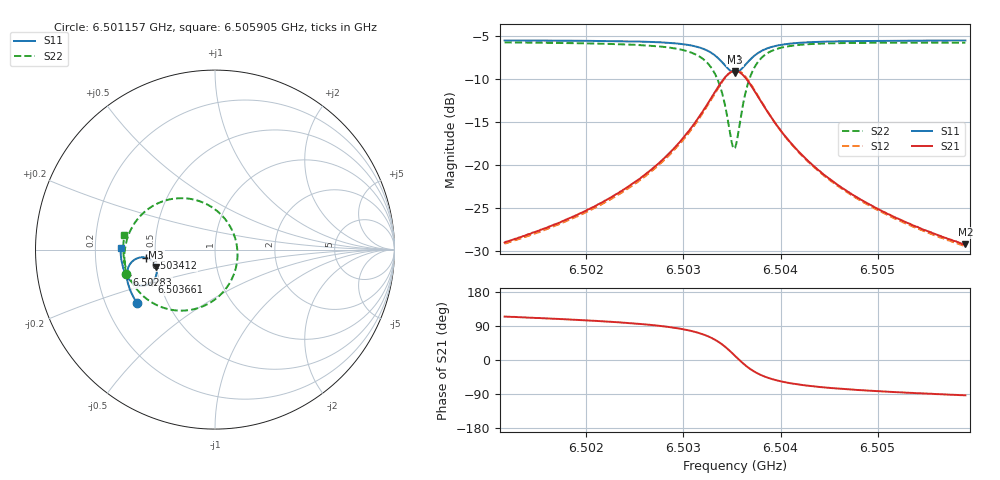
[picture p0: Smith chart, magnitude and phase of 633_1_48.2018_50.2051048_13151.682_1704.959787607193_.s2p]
#  HZ  S  RI  R  50.00
! Rohde & Schwarz Vector Network Analyzer
! Rohde-Schwarz,ZNB20-2Port,1311601062101988,3.16
! Created: UTC 3/20/2024, 12:04:23 PM
! freq[Hz]  re:S11  im:S11  re:S21  im:S21  re:S12  im:S12  re:S22  im:S22
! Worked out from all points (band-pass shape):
!   401 points, 6.501157 GHz to 6.505905 GHz, reference 50 ohm
!   highest |S21| = -9.11 dB at 6.503531 GHz (marker M1); lowest = -29.3 dB at 6.505905 GHz (marker M2)
!   |S21| within 3 dB of the highest: 6.503294 GHz to 6.503769 GHz (475.4 kHz wide, 0.00731 % of centre)
!   lowest |S11| = -9.3 dB at 6.503531 GHz (marker M3), VSWR 2.04, Z = 24.9 - j5.6 ohm
!   |S11| at or under -10 dB: nowhere
!   |S22| runs from -18.1 to -5.8 dB; largest |S21 - S12| = 0.013
!   S11 on the Smith chart (normalised r, x): 6.501157 GHz: 0.34, -0.28; 6.50283 GHz: 0.33, -0.13; 6.503412 GHz: 0.44, -0.05; 6.503661 GHz: 0.46, -0.19; 6.505905 GHz: 0.31, +0.01
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6.5011567e9  -0.436 -0.2956  -0.0147 0.0321  -0.0129 0.0324  -0.4948 -0.1371
6.501952e9  -0.4687 -0.235  -0.0138 0.0509  -0.0113 0.0504  -0.5048 -0.0491
6.502415e9  -0.4842 -0.1922  -0.01 0.073  -0.00691 0.0716  -0.499 0.021
6.5027474e9  -0.4908 -0.1532  -0.000586 0.1022  0.00328 0.0999  -0.4776 0.0928
6.5028305e9  -0.4912 -0.1416  0.00445 0.1131  0.00833 0.1101  -0.4666 0.1161
6.5030323e9  -0.4861 -0.1076  0.0278 0.1487  0.0317 0.1441  -0.4179 0.1857
6.5031747e9  -0.4711 -0.0774  0.0667 0.1832  0.0698 0.1772  -0.3426 0.2455
6.5033172e9  -0.4317 -0.0478  0.151 0.2125  0.152 0.206  -0.1888 0.2865
6.5034121e9  -0.3834 -0.0455  0.2454 0.1948  0.2458 0.1901  -0.0254 0.2414
6.5034952e9  -0.3392 -0.0763  0.326 0.1175  0.329 0.1132  0.1035 0.0891
6.5035308e9  -0.328 -0.0993  0.3441 0.0671  0.3483 0.0613  0.125 -0.00596
6.5035546e9  -0.3249 -0.1162  0.3476 0.0313  0.3521 0.0241  0.1223 -0.0717
6.5035902e9  -0.3272 -0.1412  0.34 -0.0206  0.3439 -0.0301  0.0938 -0.1639
6.5036614e9  -0.3503 -0.1798  0.2913 -0.0994  0.2914 -0.1119  -0.0206 -0.2917
6.5037089e9  -0.3716 -0.1939  0.2497 -0.1289  0.247 -0.1414  -0.1075 -0.3297
6.5037683e9  -0.3975 -0.201  0.2011 -0.146  0.1956 -0.1566  -0.2031 -0.3397
6.5039226e9  -0.4462 -0.1915  0.1143 -0.1417  0.1066 -0.1475  -0.3596 -0.2896
6.5040888e9  -0.4746 -0.1702  0.0672 -0.1198  0.0605 -0.1224  -0.4356 -0.221
6.5043262e9  -0.4959 -0.1403  0.0356 -0.0934  0.0306 -0.0942  -0.481 -0.146
6.5046705e9  -0.5113 -0.1029  0.0162 -0.0693  0.0126 -0.069  -0.504 -0.0717
6.5051215e9  -0.5211 -0.0601  0.00552 -0.0511  0.00302 -0.0504  -0.5111 -0.00345
6.505905e9  -0.5265 0.00712  -0.00194 -0.0344  -0.00327 -0.0335  -0.5045 0.0829
